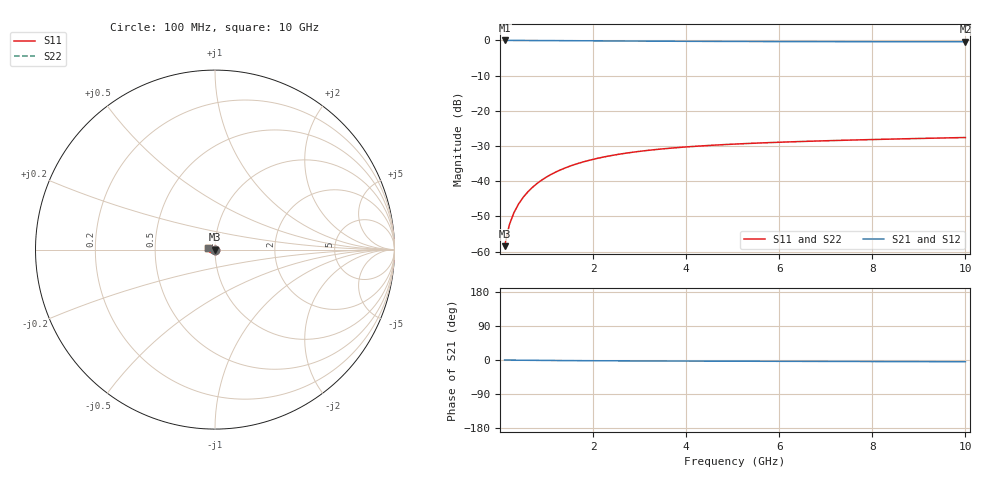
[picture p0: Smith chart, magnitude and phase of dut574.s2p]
! Touchstone file exported from HFSS 2024.1.0
!  File:  C:/UserFiles/LocalFiles/RDL_TSV_Batchsim/temp_TSV1_574_1779708604.aedt
!  Generated:  07:36:03 PM May 25, 2026
!  Design:  TSV1
!  Project:  temp_TSV1_574_1779708604
!  Setup:  Setup1
!  Solution:  Sweep
! Variables:
!  dtsv = 12.08um
!  hbump = 3um
!  htsv = 68.37um
!  lrdl = 252.1521522um
!  p = 40
!  p1 = 59.8um
!  t = 500um
!  trdl = 3um
!  wrdl = 24.89489489um
# GHz S MA R 50.000000
! Terminal data exported
! Port[1] = TSV22_T1
! Port[2] = TSV22_T2
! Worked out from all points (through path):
!   100 points, 100 MHz to 10 GHz, reference 50 ohm
!   highest |S21| = 0.00 dB at 100 MHz (marker M1); lowest = -0.4 dB at 10 GHz (marker M2)
!   lowest |S11| = -58.5 dB at 100 MHz (marker M3), VSWR 1.00, Z = 50 - j0.119 ohm
!   |S11| at or under -10 dB: start of sweep to end of sweep
!   |S22| runs from -58.5 to -27.6 dB; largest |S21 - S12| = 1.5e-14
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0.1  0.001191 -87.8  0.9999 -0.1  0.9999 -0.1  0.001191 -87.8
! Gamma 0 0 0 0
! Port Impedance 50 0 50 0
0.2  0.002378 -91.9  0.9997 -0.2  0.9997 -0.2  0.002378 -91.9
0.3  0.003563 -94.5  0.9995 -0.4  0.9995 -0.4  0.003563 -94.5
0.4  0.004741 -96.9  0.9992 -0.5  0.9992 -0.5  0.004741 -96.9
0.5  0.005908 -99.2  0.9988 -0.6  0.9988 -0.6  0.005908 -99.2
0.6  0.007059 -101.3  0.9983 -0.7  0.9983 -0.7  0.007059 -101.3
0.7  0.008192 -103.5  0.9978 -0.8  0.9978 -0.8  0.008192 -103.5
0.8  0.009304 -105.5  0.9972 -0.9  0.9972 -0.9  0.009304 -105.5
0.9  0.01039 -107.6  0.9966 -1.0  0.9966 -1.0  0.01039 -107.6
1.1  0.01249 -111.5  0.9951 -1.2  0.9951 -1.2  0.01249 -111.5
1.4  0.01541 -117.1  0.9927 -1.5  0.9927 -1.5  0.01541 -117.1
1.6  0.0172 -120.6  0.991 -1.7  0.991 -1.7  0.0172 -120.6
1.8  0.01887 -124.0  0.9892 -1.8  0.9892 -1.8  0.01887 -124.0
2.1  0.02115 -128.8  0.9865 -2.0  0.9865 -2.0  0.02115 -128.8
2.5  0.02378 -134.6  0.9831 -2.2  0.9831 -2.2  0.02378 -134.6
2.9  0.02603 -139.8  0.9799 -2.4  0.9799 -2.4  0.02603 -139.8
3.4  0.02837 -145.7  0.9763 -2.6  0.9763 -2.6  0.02837 -145.7
4.2  0.0313 -153.8  0.9716 -2.9  0.9716 -2.9  0.0313 -153.8
5.1  0.03379 -161.5  0.9675 -3.2  0.9675 -3.2  0.03379 -161.5
6.7  0.03702 -172.4  0.9624 -3.6  0.9624 -3.6  0.03702 -172.4
8.4  0.03961 178.2  0.9591 -4.1  0.9591 -4.1  0.03961 178.2
10  0.04172 170.9  0.9569 -4.6  0.9569 -4.6  0.04172 170.9
